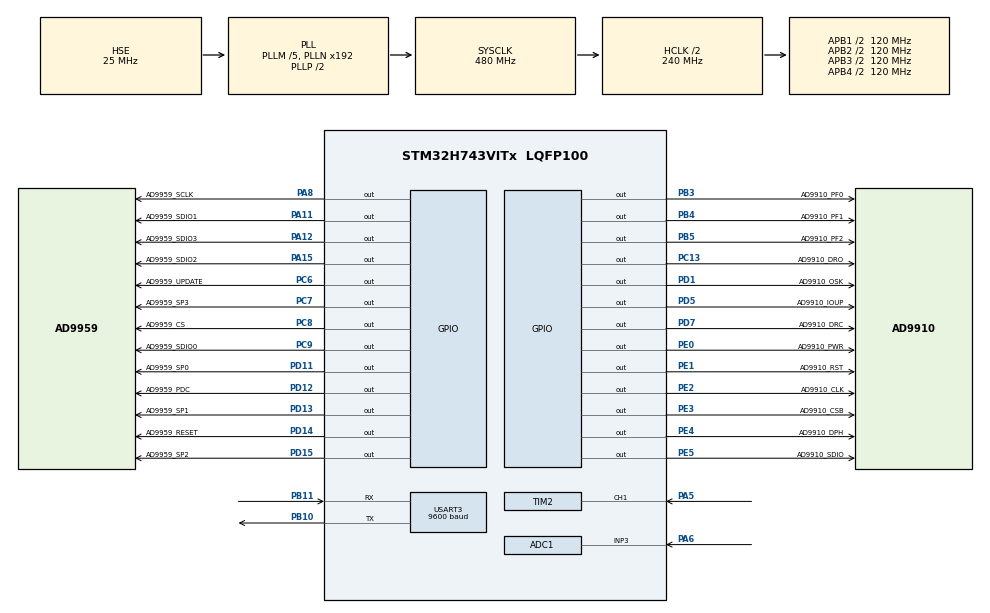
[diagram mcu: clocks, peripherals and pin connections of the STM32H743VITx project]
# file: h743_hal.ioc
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ADC1.Channel-0\#ChannelRegularConversion=ADC_CHANNEL_3
ADC1.ConversionDataManagement=ADC_CONVERSIONDATA_DMA_CIRCULAR
ADC1.ExternalTrigConv=ADC_EXTERNALTRIG_T3_TRGO
ADC1.NbrOfConversionFlag=1
ADC1.OffsetNumber-0\#ChannelRegularConversion=ADC_OFFSET_NONE
ADC1.OffsetSignedSaturation-0\#ChannelRegularConversion=DISABLE
ADC1.Rank-0\#ChannelRegularConversion=1
ADC1.Resolution=ADC_RESOLUTION_12B
ADC1.SamplingTime-0\#ChannelRegularConversion=ADC_SAMPLETIME_1CYCLE_5
ADC1.master=1
CORTEX_M7.AccessPermission_Spec=MPU_REGION_FULL_ACCESS
CORTEX_M7.BaseAddress_Spec=0x24000000
CORTEX_M7.CPU_DCache=Enabled
CORTEX_M7.CPU_ICache=Enabled
CORTEX_M7.DisableExec_Spec=MPU_INSTRUCTION_ACCESS_ENABLE
CORTEX_M7.IsShareable_Spec=MPU_ACCESS_NOT_SHAREABLE
CORTEX_M7.Size_Spec=MPU_REGION_SIZE_128KB
CORTEX_M7.SubRegionDisable_Spec=0x00
CORTEX_M7.TypeExtField_Spec=MPU_TEX_LEVEL1
CORTEX_M7.default_mode_Activation=1
Dma.ADC1.0.Direction=DMA_PERIPH_TO_MEMORY
Dma.ADC1.0.EventEnable=DISABLE
Dma.ADC1.0.FIFOMode=DMA_FIFOMODE_DISABLE
Dma.ADC1.0.Instance=DMA1_Stream0
Dma.ADC1.0.MemDataAlignment=DMA_MDATAALIGN_HALFWORD
Dma.ADC1.0.MemInc=DMA_MINC_ENABLE
Dma.ADC1.0.Mode=DMA_NORMAL
Dma.ADC1.0.PeriphDataAlignment=DMA_PDATAALIGN_HALFWORD
Dma.ADC1.0.PeriphInc=DMA_PINC_DISABLE
Dma.ADC1.0.Polarity=HAL_DMAMUX_REQ_GEN_RISING
Dma.ADC1.0.Priority=DMA_PRIORITY_LOW
Dma.ADC1.0.RequestNumber=1
Dma.ADC1.0.SignalID=NONE
Dma.ADC1.0.SyncEnable=DISABLE
Dma.ADC1.0.SyncPolarity=HAL_DMAMUX_SYNC_NO_EVENT
Dma.ADC1.0.SyncRequestNumber=1
Dma.ADC1.0.SyncSignalID=NONE
Dma.Request0=ADC1
Mcu.Family=STM32H7
Mcu.Name=STM32H743VITx
Mcu.Package=LQFP100
NVIC.DMA1_Stream0_IRQn=true\:0\:0\:false\:false\:true\:false\:true\:true
NVIC.PriorityGroup=NVIC_PRIORITYGROUP_4
NVIC.USART3_IRQn=true\:0\:0\:false\:false\:true\:true\:true\:true
PA11.GPIO_Label=AD9959_SDIO1
PA11.Signal=GPIO_Output
PA12.GPIO_Label=AD9959_SDIO3
PA12.Signal=GPIO_Output
PA13\ (JTMS/SWDIO).Mode=Serial_Wire
PA13\ (JTMS/SWDIO).Signal=DEBUG_JTMS-SWDIO
PA14\ (JTCK/SWCLK).Mode=Serial_Wire
PA14\ (JTCK/SWCLK).Signal=DEBUG_JTCK-SWCLK
PA15\ (JTDI).GPIO_Label=AD9959_SDIO2
PA15\ (JTDI).Signal=GPIO_Output
PA5.Signal=S_TIM2_CH1_ETR
PA6.Signal=ADCx_INP3
PA8.GPIO_Label=AD9959_SCLK
PA8.Signal=GPIO_Output
PB10.Mode=Asynchronous
PB10.Signal=USART3_TX
PB11.Mode=Asynchronous
PB11.Signal=USART3_RX
PB3\ (JTDO/TRACESWO).GPIO_Label=AD9910_PF0
PB3\ (JTDO/TRACESWO).Signal=GPIO_Output
PB4\ (NJTRST).GPIO_Label=AD9910_PF1
PB4\ (NJTRST).Signal=GPIO_Output
PB5.GPIO_Label=AD9910_PF2
PB5.Signal=GPIO_Output
PC13.GPIO_Label=AD9910_DRO
PC13.Signal=GPIO_Output
PC14-OSC32_IN\ (OSC32_IN).Mode=LSE-External-Oscillator
PC14-OSC32_IN\ (OSC32_IN).Signal=RCC_OSC32_IN
PC15-OSC32_OUT\ (OSC32_OUT).Mode=LSE-External-Oscillator
PC15-OSC32_OUT\ (OSC32_OUT).Signal=RCC_OSC32_OUT
PC6.GPIO_Label=AD9959_UPDATE
PC6.Signal=GPIO_Output
PC7.GPIO_Label=AD9959_SP3
PC7.Signal=GPIO_Output
PC8.GPIO_Label=AD9959_CS
PC8.Signal=GPIO_Output
PC9.GPIO_Label=AD9959_SDIO0
PC9.Signal=GPIO_Output
PD1.GPIO_Label=AD9910_OSK
PD1.Signal=GPIO_Output
PD11.GPIO_Label=AD9959_SP0
PD11.Signal=GPIO_Output
PD12.GPIO_Label=AD9959_PDC
PD12.Signal=GPIO_Output
PD13.GPIO_Label=AD9959_SP1
PD13.Signal=GPIO_Output
PD14.GPIO_Label=AD9959_RESET
PD14.Signal=GPIO_Output
PD15.GPIO_Label=AD9959_SP2
PD15.Signal=GPIO_Output
PD5.GPIO_Label=AD9910_IOUP
PD5.Signal=GPIO_Output
PD7.GPIO_Label=AD9910_DRC
PD7.Signal=GPIO_Output
PE0.GPIO_Label=AD9910_PWR
PE0.Signal=GPIO_Output
PE1.GPIO_Label=AD9910_RST
PE1.Signal=GPIO_Output
PE2.GPIO_Label=AD9910_CLK
PE2.GPIO_Speed=GPIO_SPEED_FREQ_VERY_HIGH
PE2.Signal=GPIO_Output
PE3.GPIO_Label=AD9910_CSB
PE3.Signal=GPIO_Output
PE4.GPIO_Label=AD9910_DPH
PE4.Signal=GPIO_Output
PE5.GPIO_Label=AD9910_SDIO
PE5.Signal=GPIO_Output
PH0-OSC_IN\ (PH0).Mode=HSE-External-Oscillator
PH0-OSC_IN\ (PH0).Signal=RCC_OSC_IN
PH1-OSC_OUT\ (PH1).Mode=HSE-External-Oscillator
PH1-OSC_OUT\ (PH1).Signal=RCC_OSC_OUT
ProjectManager.HeapSize=0x200
ProjectManager.StackSize=0x400
ProjectManager.TargetToolchain=MDK-ARM V5.32
RCC.ADCFreq_Value=75000000
RCC.APB1Freq_Value=120000000
RCC.APB2Freq_Value=120000000
RCC.APB3Freq_Value=120000000
RCC.APB4Freq_Value=120000000
RCC.CortexFreq_Value=480000000
RCC.D1PPRE=RCC_APB3_DIV2
RCC.D2PPRE1=RCC_APB1_DIV2
RCC.D2PPRE2=RCC_APB2_DIV2
RCC.D3PPRE=RCC_APB4_DIV2
RCC.DIVM1=5
RCC.DIVM2=2
RCC.DIVN1=192
RCC.DIVN2=12
RCC.HCLKFreq_Value=240000000
RCC.HPRE=RCC_HCLK_DIV2
RCC.PLL2FRACN=0
RCC.PLL3FRACN=0
RCC.PLLFRACN=0
RCC.PLLSourceVirtual=RCC_PLLSOURCE_HSE
RCC.SYSCLKFreq_VALUE=480000000
RCC.SYSCLKSource=RCC_SYSCLKSOURCE_PLLCLK
RCC.USBFreq_Value=480000000
SH.ADCx_INP3.0=ADC1_INP3,IN3-Single-Ended
SH.S_TIM2_CH1_ETR.0=TIM2_CH1,TriggerSource_TI1FP1
SH.S_TIM2_CH1_ETR.1=TIM2_CH1,Input_Capture1_from_TI1
TIM2.AutoReloadPreload=TIM_AUTORELOAD_PRELOAD_ENABLE
TIM2.Channel-Input_Capture1_from_TI1=TIM_CHANNEL_1
TIM2.Period=0xFFFFFFFF
TIM2.Prescaler=0
TIM3.AutoReloadPreload=TIM_AUTORELOAD_PRELOAD_ENABLE
TIM3.Period=10-1
TIM3.Prescaler=12-1
TIM3.TIM_MasterOutputTrigger=TIM_TRGO_UPDATE
USART3.BaudRate=9600
USART3.VirtualMode-Asynchronous=VM_ASYNC
VP_MEMORYMAP_VS_MEMORYMAP.Mode=CurAppReg
VP_TIM2_VS_ControllerModeReset.Mode=Reset Mode
VP_TIM3_VS_ClockSourceINT.Mode=Internal
board=custom

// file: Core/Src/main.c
/* USER CODE BEGIN Header */
/**
  ******************************************************************************
  * @file           : main.c
  * @brief          : Main program body
  ******************************************************************************
  * @attention
  *
  * Copyright (c) 2026 STMicroelectronics.
  * All rights reserved.
  *
  * This software is licensed under terms that can be found in the LICENSE file
  * in the root directory of this software component.
  * If no LICENSE file comes with this software, it is provided AS-IS.
  *
  ******************************************************************************
  */
/* USER CODE END Header */
#include "main.h"
#include "adc.h"
#include "dma.h"
#include "tim.h"
#include "usart.h"
#include "gpio.h"

/* USER CODE BEGIN Includes */
#include "app_config.h"
#include "app_types.h"
#include "freq_measure.h"
#include "adc_task.h"
#include "hmi_comm.h"
#include "ad9959.h"
/* USER CODE END Includes */

/* USER CODE BEGIN PV */
char      aRxBuffer[RXBUFFERSIZE];   // 串口 DMA 接收缓冲
uint16_t  RX_len;                     // 接收数据长度

volatile uint8_t adc_dma_finish = 0; // ADC DMA 完成标志
Wave_Struct       g_wave_info;        // 当前波形测量结果

__attribute__((section(".AXI_SRAM"))) uint16_t g_adc_buffer[FFT_N];

fftin_t   g_fft_in;
fftout_t  g_fft_out;
peak3_t   g_peaks;
/* USER CODE END PV */

void SystemClock_Config(void);
static void MPU_Config(void);

/* USER CODE BEGIN 0 */
void App_process(void)
{
  if(adc_dma_finish == 0) return;
     adc_dma_finish = 0;
     	  SCB_InvalidateDCache_by_Addr((uint32_t *)g_adc_buffer, sizeof(g_adc_buffer));
        Stop_ADC_DMA();
       FreqMeasure_Process(&g_wave_info);
       FFT_Task(&g_wave_info);
       USART_Task(&g_wave_info);
       Start_ADC_DMA();
}

/* USER CODE END 0 */

int main(void)
{

  /* MPU Configuration--------------------------------------------------------*/
  MPU_Config();

  /* Enable the CPU Cache */

  /* Enable I-Cache---------------------------------------------------------*/
  SCB_EnableICache();

  /* Enable D-Cache---------------------------------------------------------*/
  SCB_EnableDCache();

  /* MCU Configuration--------------------------------------------------------*/

  /* Reset of all peripherals, Initializes the Flash interface and the Systick. */
  HAL_Init();

  /* Configure the system clock */
  SystemClock_Config();

  /* Initialize all configured peripherals */
  MX_GPIO_Init();
  MX_DMA_Init();
  MX_ADC1_Init();
  MX_TIM3_Init();
  MX_TIM2_Init();
  MX_USART3_UART_Init();
  /* USER CODE BEGIN 2 */
  HAL_UARTEx_ReceiveToIdle_IT(&huart3, (uint8_t *)aRxBuffer, RXBUFFERSIZE);
  FreqMeasure_Init();
  Start_ADC_DMA();
  AD9959_Init();
  AD9959_Set_Freq(CH0, AD9959_DEFAULT_FREQ);

  /* USER CODE END 2 */

  /* Infinite loop */
  /* USER CODE BEGIN WHILE */
  while (1)
  {

  	App_process();
    /* USER CODE END WHILE */

  }
}

void SystemClock_Config(void)
{
  RCC_OscInitTypeDef RCC_OscInitStruct = {0};
  RCC_ClkInitTypeDef RCC_ClkInitStruct = {0};

  /** Supply configuration update enable
  */
  HAL_PWREx_ConfigSupply(PWR_LDO_SUPPLY);

  /** Configure the main internal regulator output voltage
  */
  __HAL_PWR_VOLTAGESCALING_CONFIG(PWR_REGULATOR_VOLTAGE_SCALE0);

  while(!__HAL_PWR_GET_FLAG(PWR_FLAG_VOSRDY)) {}

  /** Initializes the RCC Oscillators according to the specified parameters
  * in the RCC_OscInitTypeDef structure.
  */
  RCC_OscInitStruct.OscillatorType = RCC_OSCILLATORTYPE_HSE;
  RCC_OscInitStruct.HSEState = RCC_HSE_ON;
  RCC_OscInitStruct.PLL.PLLState = RCC_PLL_ON;
  RCC_OscInitStruct.PLL.PLLSource = RCC_PLLSOURCE_HSE;
  RCC_OscInitStruct.PLL.PLLM = 5;
  RCC_OscInitStruct.PLL.PLLN = 192;
  RCC_OscInitStruct.PLL.PLLP = 2;
  RCC_OscInitStruct.PLL.PLLQ = 2;
  RCC_OscInitStruct.PLL.PLLR = 2;
  RCC_OscInitStruct.PLL.PLLRGE = RCC_PLL1VCIRANGE_2;
  RCC_OscInitStruct.PLL.PLLVCOSEL = RCC_PLL1VCOWIDE;
  RCC_OscInitStruct.PLL.PLLFRACN = 0;
  if (HAL_RCC_OscConfig(&RCC_OscInitStruct) != HAL_OK)
  {
    Error_Handler();
  }

  /** Initializes the CPU, AHB and APB buses clocks
  */
  RCC_ClkInitStruct.ClockType = RCC_CLOCKTYPE_HCLK|RCC_CLOCKTYPE_SYSCLK
                              |RCC_CLOCKTYPE_PCLK1|RCC_CLOCKTYPE_PCLK2
                              |RCC_CLOCKTYPE_D3PCLK1|RCC_CLOCKTYPE_D1PCLK1;
  RCC_ClkInitStruct.SYSCLKSource = RCC_SYSCLKSOURCE_PLLCLK;
  RCC_ClkInitStruct.SYSCLKDivider = RCC_SYSCLK_DIV1;
  RCC_ClkInitStruct.AHBCLKDivider = RCC_HCLK_DIV2;
  RCC_ClkInitStruct.APB3CLKDivider = RCC_APB3_DIV2;
  RCC_ClkInitStruct.APB1CLKDivider = RCC_APB1_DIV2;
  RCC_ClkInitStruct.APB2CLKDivider = RCC_APB2_DIV2;
  RCC_ClkInitStruct.APB4CLKDivider = RCC_APB4_DIV2;

  if (HAL_RCC_ClockConfig(&RCC_ClkInitStruct, FLASH_LATENCY_4) != HAL_OK)
  {
    Error_Handler();
  }
}

/* USER CODE BEGIN 4 */

//dma传输完成（适用于dma Normal模式）
void HAL_ADC_ConvCpltCallback(ADC_HandleTypeDef *hadc)//ad转换完成
{
	static uint8_t count = 0;
	if (hadc->Instance == ADC1) {
   count = 1;
	}
	if (count) {
		// HAL_TIM_Base_Stop(&htim3);
		adc_dma_finish=1;//adc传输完成，通知主循环开启任务
	}
}

//串口中断回调规范版本
void UsartReceive_IDLE(UART_HandleTypeDef *huart)
{
    if(huart->Instance != USART3) return;

    __disable_irq();

    RX_len = RXBUFFERSIZE - huart->RxXferCount;

    if(RX_len >= 4)
    {
        for(uint16_t i = 0; i <= (RX_len - 4); i++)
        {
            if(aRxBuffer[i] == 0xAA && aRxBuffer[i+1] == 0x11)
            {
                if(aRxBuffer[i + 6] == 0x55)
                {
//                    float temp_phase;
//                    memcpy(&temp_phase, &aRxBuffer[i + 2], 4);
//                    Target_Phase = temp_phase;
                    break;
                }
            }
        }
    }
    __HAL_UART_CLEAR_IDLEFLAG(huart);
    if(HAL_UART_AbortReceive_IT(huart) == HAL_OK)
    {
        HAL_UARTEx_ReceiveToIdle_IT(huart, (uint8_t *)aRxBuffer, RXBUFFERSIZE);
    }

    __enable_irq();
}
/* USER CODE END 4 */

 /* MPU Configuration */

void MPU_Config(void)
{
  MPU_Region_InitTypeDef MPU_InitStruct = {0};

  /* Disables the MPU */
  HAL_MPU_Disable();

  /** Initializes and configures the Region and the memory to be protected
  */
  MPU_InitStruct.Enable = MPU_REGION_ENABLE;
  MPU_InitStruct.Number = MPU_REGION_NUMBER0;
  MPU_InitStruct.BaseAddress = 0x24000000;
  MPU_InitStruct.Size = MPU_REGION_SIZE_128KB;
  MPU_InitStruct.SubRegionDisable = 0x00;
  MPU_InitStruct.TypeExtField = MPU_TEX_LEVEL1;
  MPU_InitStruct.AccessPermission = MPU_REGION_FULL_ACCESS;
  MPU_InitStruct.DisableExec = MPU_INSTRUCTION_ACCESS_ENABLE;
  MPU_InitStruct.IsShareable = MPU_ACCESS_NOT_SHAREABLE;
  MPU_InitStruct.IsCacheable = MPU_ACCESS_NOT_CACHEABLE;
  MPU_InitStruct.IsBufferable = MPU_ACCESS_NOT_BUFFERABLE;

  HAL_MPU_ConfigRegion(&MPU_InitStruct);
  /* Enables the MPU */
  HAL_MPU_Enable(MPU_PRIVILEGED_DEFAULT);

}

void Error_Handler(void)
{
  /* USER CODE BEGIN Error_Handler_Debug */
  /* User can add his own implementation to report the HAL error return state */
  __disable_irq();
  while (1)
  {
     /* 在此添加错误处理（如 LED 闪烁） */
  }
  /* USER CODE END Error_Handler_Debug */
}
